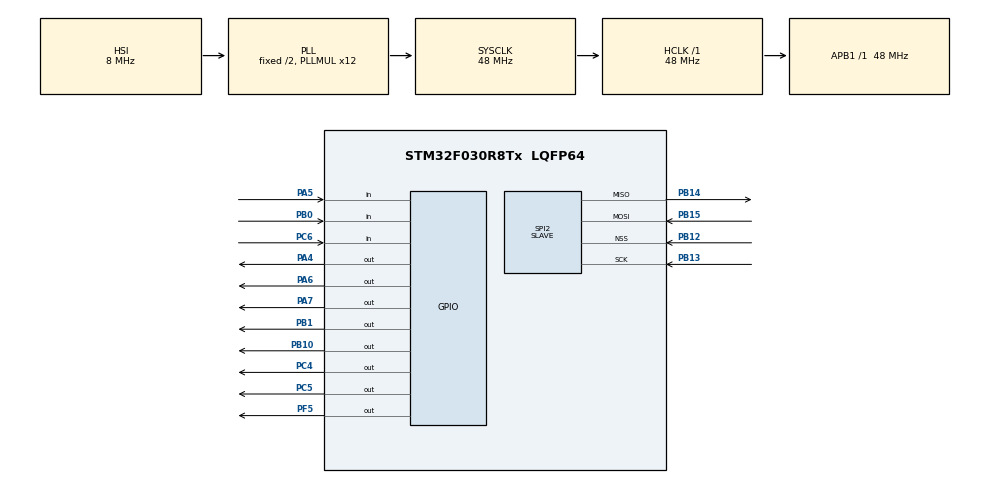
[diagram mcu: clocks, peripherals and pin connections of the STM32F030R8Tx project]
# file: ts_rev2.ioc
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Dma.Request0=SPI2_RX
Dma.Request1=SPI2_TX
Dma.SPI2_RX.0.Direction=DMA_PERIPH_TO_MEMORY
Dma.SPI2_RX.0.Instance=DMA1_Channel4
Dma.SPI2_RX.0.MemDataAlignment=DMA_MDATAALIGN_BYTE
Dma.SPI2_RX.0.MemInc=DMA_MINC_ENABLE
Dma.SPI2_RX.0.Mode=DMA_NORMAL
Dma.SPI2_RX.0.PeriphDataAlignment=DMA_PDATAALIGN_BYTE
Dma.SPI2_RX.0.PeriphInc=DMA_PINC_DISABLE
Dma.SPI2_RX.0.Priority=DMA_PRIORITY_LOW
Dma.SPI2_TX.1.Direction=DMA_MEMORY_TO_PERIPH
Dma.SPI2_TX.1.Instance=DMA1_Channel5
Dma.SPI2_TX.1.MemDataAlignment=DMA_MDATAALIGN_BYTE
Dma.SPI2_TX.1.MemInc=DMA_MINC_ENABLE
Dma.SPI2_TX.1.Mode=DMA_NORMAL
Dma.SPI2_TX.1.PeriphDataAlignment=DMA_PDATAALIGN_BYTE
Dma.SPI2_TX.1.PeriphInc=DMA_PINC_DISABLE
Dma.SPI2_TX.1.Priority=DMA_PRIORITY_LOW
IWDG.Prescaler=IWDG_PRESCALER_256
IWDG.Reload=4090
IWDG.Window=4095
Mcu.Family=STM32F0
Mcu.Name=STM32F030R8Tx
Mcu.Package=LQFP64
NVIC.DMA1_Channel4_5_IRQn=true\:0\:0\:false\:false\:true\:false\:true\:true
NVIC.SPI2_IRQn=true\:0\:0\:false\:false\:true\:true\:true\:true
PA13.GPIO_Label=SWDIO
PA13.Mode=Serial_Wire
PA13.Signal=SYS_SWDIO
PA14.GPIO_Label=SWCLK
PA14.Mode=Serial_Wire
PA14.Signal=SYS_SWCLK
PA4.Signal=GPIO_Output
PA5.GPIO_PuPd=GPIO_PULLUP
PA5.Signal=GPIO_Input
PA6.Signal=GPIO_Output
PA7.Signal=GPIO_Output
PB0.GPIO_PuPd=GPIO_PULLUP
PB0.Signal=GPIO_Input
PB1.Signal=GPIO_Output
PB10.Signal=GPIO_Output
PB12.Mode=NSS_Signal_Hard_Input
PB12.Signal=SPI2_NSS
PB13.Mode=Full_Duplex_Slave
PB13.Signal=SPI2_SCK
PB14.Mode=Full_Duplex_Slave
PB14.Signal=SPI2_MISO
PB15.Mode=Full_Duplex_Slave
PB15.Signal=SPI2_MOSI
PC4.Signal=GPIO_Output
PC5.Signal=GPIO_Output
PC6.Signal=GPIO_Input
PF0-OSC_IN.Mode=HSE-External-Oscillator
PF0-OSC_IN.Signal=RCC_OSC_IN
PF1-OSC_OUT.Mode=HSE-External-Oscillator
PF1-OSC_OUT.Signal=RCC_OSC_OUT
PF5.Signal=GPIO_Output
ProjectManager.HeapSize=0x200
ProjectManager.StackSize=0x400
ProjectManager.TargetToolchain=STM32CubeIDE
RCC.AHBFreq_Value=48000000
RCC.APB1Freq_Value=48000000
RCC.APB1TimFreq_Value=48000000
RCC.HCLKFreq_Value=48000000
RCC.PLLMUL=RCC_PLL_MUL12
RCC.SYSCLKFreq_VALUE=48000000
RCC.SYSCLKSource=RCC_SYSCLKSOURCE_PLLCLK
SPI2.DataSize=SPI_DATASIZE_8BIT
SPI2.Direction=SPI_DIRECTION_2LINES
SPI2.Mode=SPI_MODE_SLAVE
SPI2.VirtualNSS=VM_NSSHARD
SPI2.VirtualType=VM_SLAVE
VP_IWDG_VS_IWDG.Mode=IWDG_Activate
board=32F0308DISCOVERY

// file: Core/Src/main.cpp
/* USER CODE BEGIN Header */
/**
  ******************************************************************************
  * @file           : main.c
  * @brief          : Main program body
  ******************************************************************************
  * @attention
  *
  * Copyright (c) 2023 STMicroelectronics.
  * All rights reserved.
  *
  * This software is licensed under terms that can be found in the LICENSE file
  * in the root directory of this software component.
  * If no LICENSE file comes with this software, it is provided AS-IS.
  *
  ******************************************************************************
  */
/* USER CODE END Header */
#include "main.h"

/* USER CODE BEGIN Includes */
#include "Ts.h"
/* USER CODE END Includes */

IWDG_HandleTypeDef hiwdg;

SPI_HandleTypeDef hspi2;
DMA_HandleTypeDef hdma_spi2_rx;
DMA_HandleTypeDef hdma_spi2_tx;

/* USER CODE BEGIN PV */
#define READY 0
#define BUSY 1
#define RECEIVED 2

uint8_t rx[6] { 0 };
uint8_t tx[6] { 0, 0, 0, 0, 1, 0 };

uint8_t spiState { 0 };
uint8_t iwdgFlag { 1 };
Ts ts[32];
/* USER CODE END PV */

void SystemClock_Config(void);
static void MX_GPIO_Init(void);
static void MX_DMA_Init(void);
static void MX_SPI2_Init(void);
static void MX_IWDG_Init(void);

/* USER CODE BEGIN 0 */
void HAL_SPI_TxRxCpltCallback(SPI_HandleTypeDef *hspi) {
	if (hspi == &hspi2) {
		iwdgFlag = 1;
		spiState = RECEIVED;
	}
}

void spiProcessing() {
	switch (spiState) {
	case READY:
		spiState = BUSY;
		HAL_SPI_TransmitReceive_DMA(&hspi2, tx, rx, 6);
		break;
	case RECEIVED:
		spiState = READY;
		uint8_t tsNum { 0 };
		while (tsNum <= 7) {
			ts[tsNum].read(&tx[0], tsNum);
			++tsNum;
		}
		while (tsNum <= 15) {
			ts[tsNum].read(&tx[1], tsNum - 8);
			++tsNum;
		}
		while (tsNum <= 23) {
			ts[tsNum].read(&tx[2], tsNum - 16);
			++tsNum;
		}
		while (tsNum <= 31) {
			ts[tsNum].read(&tx[3], tsNum - 24);
			++tsNum;
		}
		tx[5] = tx[0] + tx[1] + tx[2] + tx[3] + tx[4];
		break;
	}
}

void HAL_SPI_ErrorCallback(SPI_HandleTypeDef *hspi) {
	/*
	if (hspi->ErrorCode & HAL_SPI_ERROR_MODF) {
		// MODF error
	}
	if (hspi->ErrorCode & HAL_SPI_ERROR_DMA) {
		// DMA transfer error
	}
	if (hspi->ErrorCode & HAL_SPI_ERROR_ABORT) {
		// Error during SPI Abort procedure
	}
	if (hspi->ErrorCode & HAL_SPI_ERROR_FLAG) {
		// Error on RXNE/TXE/BSY/FTLVL/FRLVL Flag
	}
	if (hspi->ErrorCode & HAL_SPI_ERROR_CRC) {
		// Ошибка контрольной суммы (CRC)
	}
	if (hspi->ErrorCode & HAL_SPI_ERROR_OVR) {
		// Ошибка переполнения буфера (Overrun)
	}
	if (hspi->ErrorCode & HAL_SPI_ERROR_FRE) {
		// Ошибка формирования фрейма (Frame format error)
	}
	*/
	HAL_SPI_Abort(hspi);
	__HAL_SPI_CLEAR_CRCERRFLAG(hspi);
	__HAL_SPI_CLEAR_FREFLAG(hspi);
	__HAL_SPI_CLEAR_MODFFLAG(hspi);
	__HAL_SPI_CLEAR_OVRFLAG(hspi);
	hspi->ErrorCode = HAL_SPI_ERROR_NONE;
	spiState = RECEIVED;
}

void HAL_SPI_DMAErrorCallback(SPI_HandleTypeDef *hspi) {
	HAL_SPI_Abort(hspi);
	__HAL_SPI_CLEAR_CRCERRFLAG(hspi);
	__HAL_SPI_CLEAR_FREFLAG(hspi);
	__HAL_SPI_CLEAR_MODFFLAG(hspi);
	__HAL_SPI_CLEAR_OVRFLAG(hspi);
	hspi->ErrorCode = HAL_SPI_ERROR_NONE;
	spiState = RECEIVED;
}

void tsInit() {
	for (int i = 0; i <= 15; i++) {
		ts[i].setOut(GPIOB, 0);
		ts[i].setSw(GPIOB, 1, GPIOB, 10, GPIOC, 5, GPIOC, 4);
	}
	ts[0].setPinNum(0);
	ts[1].setPinNum(1);
	ts[2].setPinNum(2);
	ts[3].setPinNum(3);
	ts[4].setPinNum(8);
	ts[5].setPinNum(9);
	ts[6].setPinNum(10);
	ts[7].setPinNum(11);
	ts[8].setPinNum(15);
	ts[9].setPinNum(14);
	ts[10].setPinNum(13);
	ts[11].setPinNum(12);
	ts[12].setPinNum(7);
	ts[13].setPinNum(6);
	ts[14].setPinNum(5);
	ts[15].setPinNum(4);

	for (int i = 16; i <= 31; i++) {
		ts[i].setOut(GPIOA, 5);
		ts[i].setSw(GPIOA, 6, GPIOA, 7, GPIOA, 4, GPIOF, 5);
	}
	ts[16].setPinNum(0);
	ts[17].setPinNum(1);
	ts[18].setPinNum(2);
	ts[19].setPinNum(3);
	ts[20].setPinNum(8);
	ts[21].setPinNum(9);
	ts[22].setPinNum(10);
	ts[23].setPinNum(11);
	ts[24].setPinNum(15);
	ts[25].setPinNum(14);
	ts[26].setPinNum(13);
	ts[27].setPinNum(12);
	ts[28].setPinNum(7);
	ts[29].setPinNum(6);
	ts[30].setPinNum(5);
	ts[31].setPinNum(4);
}
/* USER CODE END 0 */

int main(void)
{

  /* MCU Configuration--------------------------------------------------------*/

  /* Reset of all peripherals, Initializes the Flash interface and the Systick. */
  HAL_Init();

  /* Configure the system clock */
  SystemClock_Config();

  /* Initialize all configured peripherals */
  MX_GPIO_Init();
  MX_DMA_Init();
  MX_SPI2_Init();
  MX_IWDG_Init();
  /* USER CODE BEGIN 2 */
  tsInit();
  /* USER CODE END 2 */

  /* Infinite loop */
  /* USER CODE BEGIN WHILE */
  while (1)
  {
		/* Сброс watchdog */
		if (iwdgFlag == 1) {
			iwdgFlag = 0;
			HAL_IWDG_Refresh(&hiwdg);
		}
		/* Обработка приема по spi */
		spiProcessing();
    /* USER CODE END WHILE */

  }
}

void SystemClock_Config(void)
{
  RCC_OscInitTypeDef RCC_OscInitStruct = {0};
  RCC_ClkInitTypeDef RCC_ClkInitStruct = {0};

  /** Initializes the RCC Oscillators according to the specified parameters
  * in the RCC_OscInitTypeDef structure.
  */
  RCC_OscInitStruct.OscillatorType = RCC_OSCILLATORTYPE_HSI|RCC_OSCILLATORTYPE_LSI;
  RCC_OscInitStruct.HSIState = RCC_HSI_ON;
  RCC_OscInitStruct.HSICalibrationValue = RCC_HSICALIBRATION_DEFAULT;
  RCC_OscInitStruct.LSIState = RCC_LSI_ON;
  RCC_OscInitStruct.PLL.PLLState = RCC_PLL_ON;
  RCC_OscInitStruct.PLL.PLLSource = RCC_PLLSOURCE_HSI;
  RCC_OscInitStruct.PLL.PLLMUL = RCC_PLL_MUL12;
  RCC_OscInitStruct.PLL.PREDIV = RCC_PREDIV_DIV1;
  if (HAL_RCC_OscConfig(&RCC_OscInitStruct) != HAL_OK)
  {
    Error_Handler();
  }

  /** Initializes the CPU, AHB and APB buses clocks
  */
  RCC_ClkInitStruct.ClockType = RCC_CLOCKTYPE_HCLK|RCC_CLOCKTYPE_SYSCLK
                              |RCC_CLOCKTYPE_PCLK1;
  RCC_ClkInitStruct.SYSCLKSource = RCC_SYSCLKSOURCE_PLLCLK;
  RCC_ClkInitStruct.AHBCLKDivider = RCC_SYSCLK_DIV1;
  RCC_ClkInitStruct.APB1CLKDivider = RCC_HCLK_DIV1;

  if (HAL_RCC_ClockConfig(&RCC_ClkInitStruct, FLASH_LATENCY_1) != HAL_OK)
  {
    Error_Handler();
  }
}

static void MX_IWDG_Init(void)
{

  hiwdg.Instance = IWDG;
  hiwdg.Init.Prescaler = IWDG_PRESCALER_256;
  hiwdg.Init.Window = 4095;
  hiwdg.Init.Reload = 4090;
  if (HAL_IWDG_Init(&hiwdg) != HAL_OK)
  {
    Error_Handler();
  }

}

static void MX_SPI2_Init(void)
{

  /* SPI2 parameter configuration*/
  hspi2.Instance = SPI2;
  hspi2.Init.Mode = SPI_MODE_SLAVE;
  hspi2.Init.Direction = SPI_DIRECTION_2LINES;
  hspi2.Init.DataSize = SPI_DATASIZE_8BIT;
  hspi2.Init.CLKPolarity = SPI_POLARITY_LOW;
  hspi2.Init.CLKPhase = SPI_PHASE_1EDGE;
  hspi2.Init.NSS = SPI_NSS_HARD_INPUT;
  hspi2.Init.FirstBit = SPI_FIRSTBIT_MSB;
  hspi2.Init.TIMode = SPI_TIMODE_DISABLE;
  hspi2.Init.CRCCalculation = SPI_CRCCALCULATION_DISABLE;
  hspi2.Init.CRCPolynomial = 7;
  hspi2.Init.CRCLength = SPI_CRC_LENGTH_DATASIZE;
  hspi2.Init.NSSPMode = SPI_NSS_PULSE_DISABLE;
  if (HAL_SPI_Init(&hspi2) != HAL_OK)
  {
    Error_Handler();
  }

}

static void MX_DMA_Init(void)
{

  /* DMA controller clock enable */
  __HAL_RCC_DMA1_CLK_ENABLE();

  /* DMA interrupt init */
  /* DMA1_Channel4_5_IRQn interrupt configuration */
  HAL_NVIC_SetPriority(DMA1_Channel4_5_IRQn, 0, 0);
  HAL_NVIC_EnableIRQ(DMA1_Channel4_5_IRQn);

}

static void MX_GPIO_Init(void)
{
  GPIO_InitTypeDef GPIO_InitStruct = {0};

  /* GPIO Ports Clock Enable */
  __HAL_RCC_GPIOF_CLK_ENABLE();
  __HAL_RCC_GPIOA_CLK_ENABLE();
  __HAL_RCC_GPIOC_CLK_ENABLE();
  __HAL_RCC_GPIOB_CLK_ENABLE();

  /*Configure GPIO pin Output Level */
  HAL_GPIO_WritePin(GPIOF, GPIO_PIN_5, GPIO_PIN_RESET);

  /*Configure GPIO pin Output Level */
  HAL_GPIO_WritePin(GPIOA, GPIO_PIN_4|GPIO_PIN_6|GPIO_PIN_7, GPIO_PIN_RESET);

  /*Configure GPIO pin Output Level */
  HAL_GPIO_WritePin(GPIOC, GPIO_PIN_4|GPIO_PIN_5, GPIO_PIN_RESET);

  /*Configure GPIO pin Output Level */
  HAL_GPIO_WritePin(GPIOB, GPIO_PIN_1|GPIO_PIN_10, GPIO_PIN_RESET);

  /*Configure GPIO pin : PF5 */
  GPIO_InitStruct.Pin = GPIO_PIN_5;
  GPIO_InitStruct.Mode = GPIO_MODE_OUTPUT_PP;
  GPIO_InitStruct.Pull = GPIO_NOPULL;
  GPIO_InitStruct.Speed = GPIO_SPEED_FREQ_LOW;
  HAL_GPIO_Init(GPIOF, &GPIO_InitStruct);

  /*Configure GPIO pins : PA4 PA6 PA7 */
  GPIO_InitStruct.Pin = GPIO_PIN_4|GPIO_PIN_6|GPIO_PIN_7;
  GPIO_InitStruct.Mode = GPIO_MODE_OUTPUT_PP;
  GPIO_InitStruct.Pull = GPIO_NOPULL;
  GPIO_InitStruct.Speed = GPIO_SPEED_FREQ_LOW;
  HAL_GPIO_Init(GPIOA, &GPIO_InitStruct);

  /*Configure GPIO pin : PA5 */
  GPIO_InitStruct.Pin = GPIO_PIN_5;
  GPIO_InitStruct.Mode = GPIO_MODE_INPUT;
  GPIO_InitStruct.Pull = GPIO_PULLUP;
  HAL_GPIO_Init(GPIOA, &GPIO_InitStruct);

  /*Configure GPIO pins : PC4 PC5 */
  GPIO_InitStruct.Pin = GPIO_PIN_4|GPIO_PIN_5;
  GPIO_InitStruct.Mode = GPIO_MODE_OUTPUT_PP;
  GPIO_InitStruct.Pull = GPIO_NOPULL;
  GPIO_InitStruct.Speed = GPIO_SPEED_FREQ_LOW;
  HAL_GPIO_Init(GPIOC, &GPIO_InitStruct);

  /*Configure GPIO pin : PB0 */
  GPIO_InitStruct.Pin = GPIO_PIN_0;
  GPIO_InitStruct.Mode = GPIO_MODE_INPUT;
  GPIO_InitStruct.Pull = GPIO_PULLUP;
  HAL_GPIO_Init(GPIOB, &GPIO_InitStruct);

  /*Configure GPIO pins : PB1 PB10 */
  GPIO_InitStruct.Pin = GPIO_PIN_1|GPIO_PIN_10;
  GPIO_InitStruct.Mode = GPIO_MODE_OUTPUT_PP;
  GPIO_InitStruct.Pull = GPIO_NOPULL;
  GPIO_InitStruct.Speed = GPIO_SPEED_FREQ_LOW;
  HAL_GPIO_Init(GPIOB, &GPIO_InitStruct);

  /*Configure GPIO pin : PC6 */
  GPIO_InitStruct.Pin = GPIO_PIN_6;
  GPIO_InitStruct.Mode = GPIO_MODE_INPUT;
  GPIO_InitStruct.Pull = GPIO_NOPULL;
  HAL_GPIO_Init(GPIOC, &GPIO_InitStruct);

}

void Error_Handler(void)
{
  __disable_irq();
  while (1)
  {
  }
}
